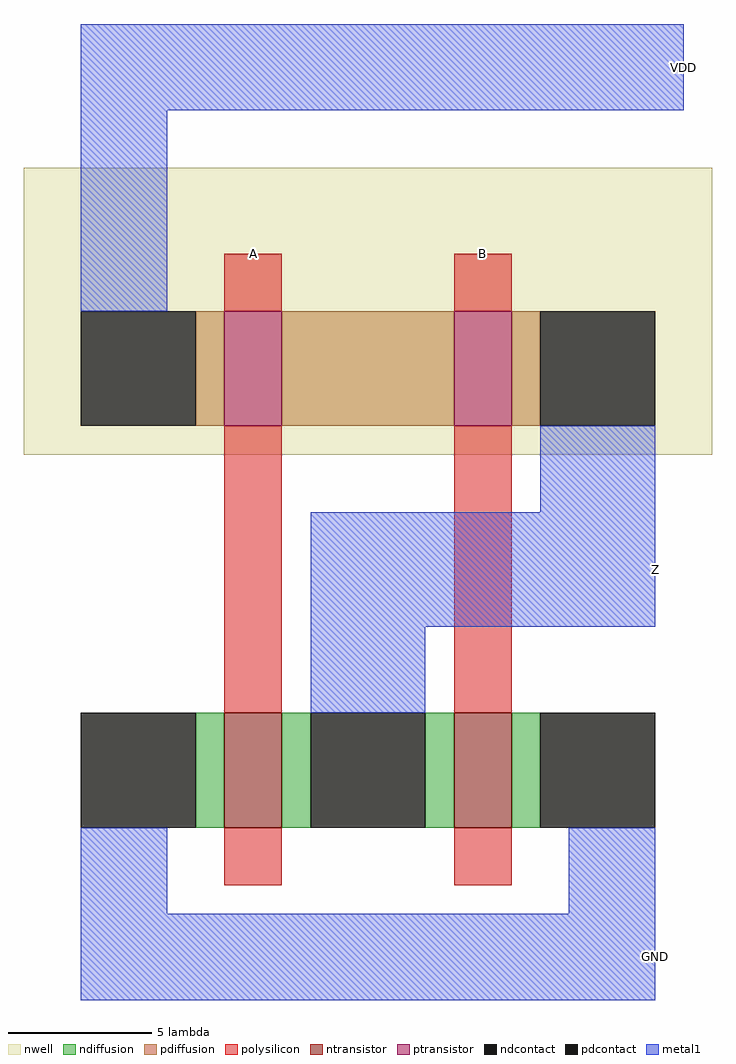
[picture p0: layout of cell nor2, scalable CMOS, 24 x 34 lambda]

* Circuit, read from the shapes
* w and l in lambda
.subckt nor2 A B GND VDD Z
M1 Z A GND VSUBS nfet w=4 l=2
M2 GND B Z VSUBS nfet w=4 l=2
M3 n1 A VDD n2 pfet w=4 l=2
M4 Z B n1 n2 pfet w=4 l=2
.ends

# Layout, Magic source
magic
tech scmos
<< nwell >>
rect -20 4 4 14
<< polysilicon >>
rect -13 9 -11 11
rect -5 9 -3 11
rect -13 -5 -11 5
rect -5 -5 -3 5
rect -13 -11 -11 -9
rect -5 -11 -3 -9
<< ndiffusion >>
rect -14 -9 -13 -5
rect -11 -9 -10 -5
rect -6 -9 -5 -5
rect -3 -9 -2 -5
<< pdiffusion >>
rect -14 5 -13 9
rect -11 5 -5 9
rect -3 5 -2 9
<< metal1 >>
rect -18 16 3 19
rect -18 9 -15 16
rect -2 2 2 5
rect -10 -2 2 2
rect -10 -5 -6 -2
rect -18 -12 -15 -9
rect -1 -12 2 -9
rect -18 -15 2 -12
<< ntransistor >>
rect -13 -9 -11 -5
rect -5 -9 -3 -5
<< ptransistor >>
rect -13 5 -11 9
rect -5 5 -3 9
<< ndcontact >>
rect -18 -9 -14 -5
rect -10 -9 -6 -5
rect -2 -9 2 -5
<< pdcontact >>
rect -18 5 -14 9
rect -2 5 2 9
<< labels >>
rlabel polysilicon -13 11 -11 11 1 A
rlabel polysilicon -5 11 -3 11 1 B
rlabel metal1 2 -2 2 2 3 Z
rlabel metal1 3 16 3 19 6 VDD
rlabel metal1 2 -15 2 -12 8 GND
<< end >>
